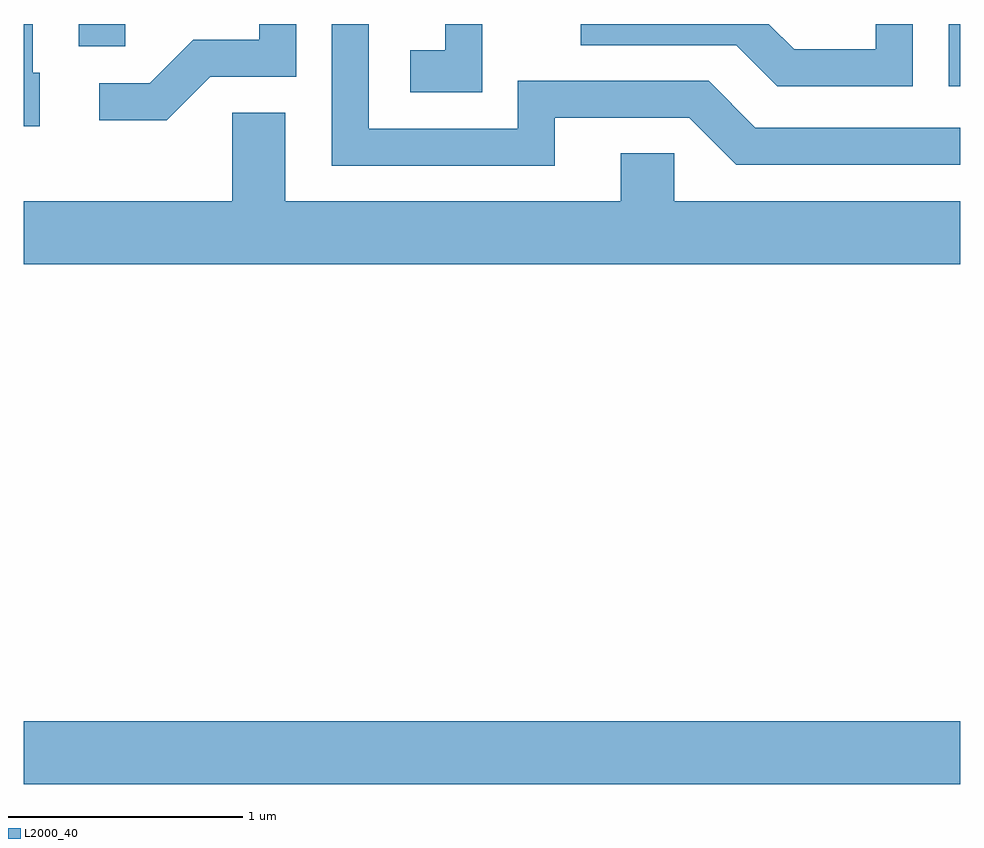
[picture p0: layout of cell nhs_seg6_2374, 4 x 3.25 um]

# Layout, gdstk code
import gdstk
lib = gdstk.Library(unit=1e-6, precision=1e-09)
def R(c, l, rs):  # rectangles x0, y0, x1, y1
    for r in rs: c.add(gdstk.rectangle(r[:2], r[2:], *l))
def P(c, l, *ps):  # polygons
    for p in ps: c.add(gdstk.Polygon(p, *l))
L2000_40 = (2000, 40)

nhs_seg6_2374 = lib.new_cell('nhs_seg6_2374')
R(nhs_seg6_2374, L2000_40, [(257.611,1558.916,261.611,1559.184), (261.561,1561.896,261.611,1562.162), (257.846,1562.066,258.044,1562.162)])
P(nhs_seg6_2374, L2000_40, [(258.407,1561.936),(258.774,1561.936),(258.774,1562.162),(258.616,1562.162),(258.616,1562.094),(258.334,1562.094),(258.149,1561.909),(257.933,1561.909),(257.933,1561.751),(258.222,1561.751)],
  [(259.569,1562.162),(259.411,1562.162),(259.411,1562.049),(259.261,1562.049),(259.261,1561.871),(259.569,1561.871)],
  [(261.409,1562.162),(261.251,1562.162),(261.251,1562.054),(260.902,1562.054),(260.794,1562.162),(259.991,1562.162),(259.991,1562.071),(260.654,1562.071),(260.829,1561.896),(261.409,1561.896)],
  [(257.679,1561.954),(257.649,1561.954),(257.649,1562.162),(257.611,1562.162),(257.611,1561.726),(257.679,1561.726)],
  [(259.879,1561.761),(260.454,1561.761),(260.654,1561.561),(261.611,1561.561),(261.611,1561.719),(260.736,1561.719),(260.537,1561.919),(259.721,1561.919),(259.721,1561.714),(259.084,1561.714),(259.084,1562.162),(258.926,1562.162),(258.926,1561.556),(259.879,1561.556)],
  [(261.611,1561.404),(260.389,1561.404),(260.389,1561.609),(260.161,1561.609),(260.161,1561.404),(258.729,1561.404),(258.729,1561.784),(258.501,1561.784),(258.501,1561.404),(257.611,1561.404),(257.611,1561.136),(261.611,1561.136)])

lib.write_gds('nhs_seg6_2374.gds')
